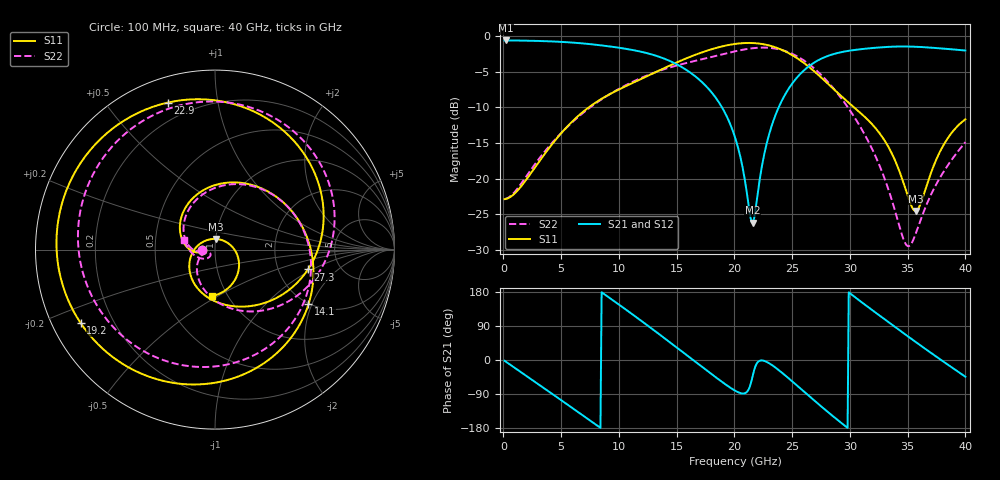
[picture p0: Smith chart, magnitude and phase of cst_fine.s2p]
! B_s8_L1L3_stub_d300: L1→L3, through via (stub to L8), drill Ø0.3
! stackup: 8-layer 1.6 mm FR-4 (generic)
! ports: 1, 2
! CST Studio Suite 2025.5 Release from 2025-05-30, time domain (FIT, hexahedral, PBA), 386496 mesh cells, 74 s
! mesh: {'lpw': 30.0, 'lpb': 30.0, 'minstep': 0.0, 'ratio': 20}; ports: port 1 (face); port 2 (face)
! interpolated from CST's 1001 samples to the case grid
# Hz S RI R 50
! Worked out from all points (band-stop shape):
!   400 points, 100 MHz to 40 GHz, reference 50 ohm
!   highest |S21| = -0.65 dB at 200 MHz (marker M1); lowest = -26.2 dB at 21.6 GHz (marker M2)
!   |S21| within 3 dB of the highest: start of sweep to 14.58 GHz; 27.01 GHz to end of sweep
!   lowest |S11| = -24.5 dB at 35.7 GHz (marker M3), VSWR 1.13, Z = 50 + j5.95 ohm
!   |S11| at or under -10 dB: start of sweep to 7.401 GHz; 30.35 GHz to end of sweep
!   |S22| runs from -29.5 to -1.6 dB; largest |S21 - S12| = 3.8e-05
!   S11 on the Smith chart (normalised r, x): 100 MHz: 0.87, -0.00; 14.1 GHz: 1.97, -1.89; 19.2 GHz: 0.08, -0.25; 22.9 GHz: 0.11, +0.72; 27.3 GHz: 2.94, -0.90; 40 GHz: 0.84, -0.47
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1e8  -0.0718 -0.00115  0.9275 -0.0342  0.9275 -0.0342  -0.072 -0.00115
2e8  -0.072 -0.0023  0.9256 -0.0684  0.9256 -0.0684  -0.0723 -0.00229
3.7e9  -0.1536 0.0116  0.1857 -0.8981  0.1857 -0.8981  -0.1552 0.0361
6.8e9  -0.1599 0.2415  -0.7223 -0.513  -0.7223 -0.513  -0.1229 0.2567
9.5e9  0.1547 0.3709  -0.7706 0.3254  -0.7706 0.3253  0.1831 0.3594
1.15e10  0.4346 0.2055  -0.3088 0.7236  -0.3088 0.7236  0.4592 0.1704
1.34e10  0.5483 -0.1477  0.2447 0.6741  0.2447 0.6741  0.5173 -0.2281
1.41e10  0.5208 -0.305  0.4025 0.552  0.4025 0.552  0.4457 -0.3868
1.67e10  0.00396 -0.7411  0.5102 -0.0588  0.5102 -0.0588  -0.2003 -0.6402
1.92e10  -0.7484 -0.4094  0.1269 -0.2577  0.1269 -0.2577  -0.744 -0.098
2.01e10  -0.875 -0.079  0.0275 -0.1873  0.0275 -0.1873  -0.7502 0.2147
2.16e10  -0.7237 0.5184  0.038 -0.0313  0.038 -0.0313  -0.4668 0.6731
2.29e10  -0.2637 0.819  0.1891 -0.0222  0.1891 -0.0223  -0.00744 0.8252
2.5e10  0.4858 0.5486  0.2571 -0.3851  0.2571 -0.385  0.6087 0.4351
2.67e10  0.5829 0.0297  -0.1231 -0.6213  -0.1231 -0.6213  0.6058 -0.0801
2.73e10  0.518 -0.1103  -0.3065 -0.6043  -0.3065 -0.6043  0.5123 -0.2095
3.02e10  0.0836 -0.3129  -0.7834 0.1183  -0.7834 0.1183  0.00216 -0.2844
3.34e10  -0.143 -0.0785  -0.1256 0.8281  -0.1256 0.8281  -0.0748 -0.0312
3.48e10  -0.0768 0.0372  0.3246 0.7771  0.3246 0.7771  -0.0311 -0.0165
3.57e10  0.00401 0.0592  0.5672 0.6175  0.5673 0.6176  -0.0253 -0.0326
3.78e10  0.1339 -0.0771  0.8168 0.0294  0.8168 0.0293  -0.0913 -0.0445
4e10  -0.0184 -0.2596  0.5656 -0.5507  0.5656 -0.5506  -0.171 0.0561
